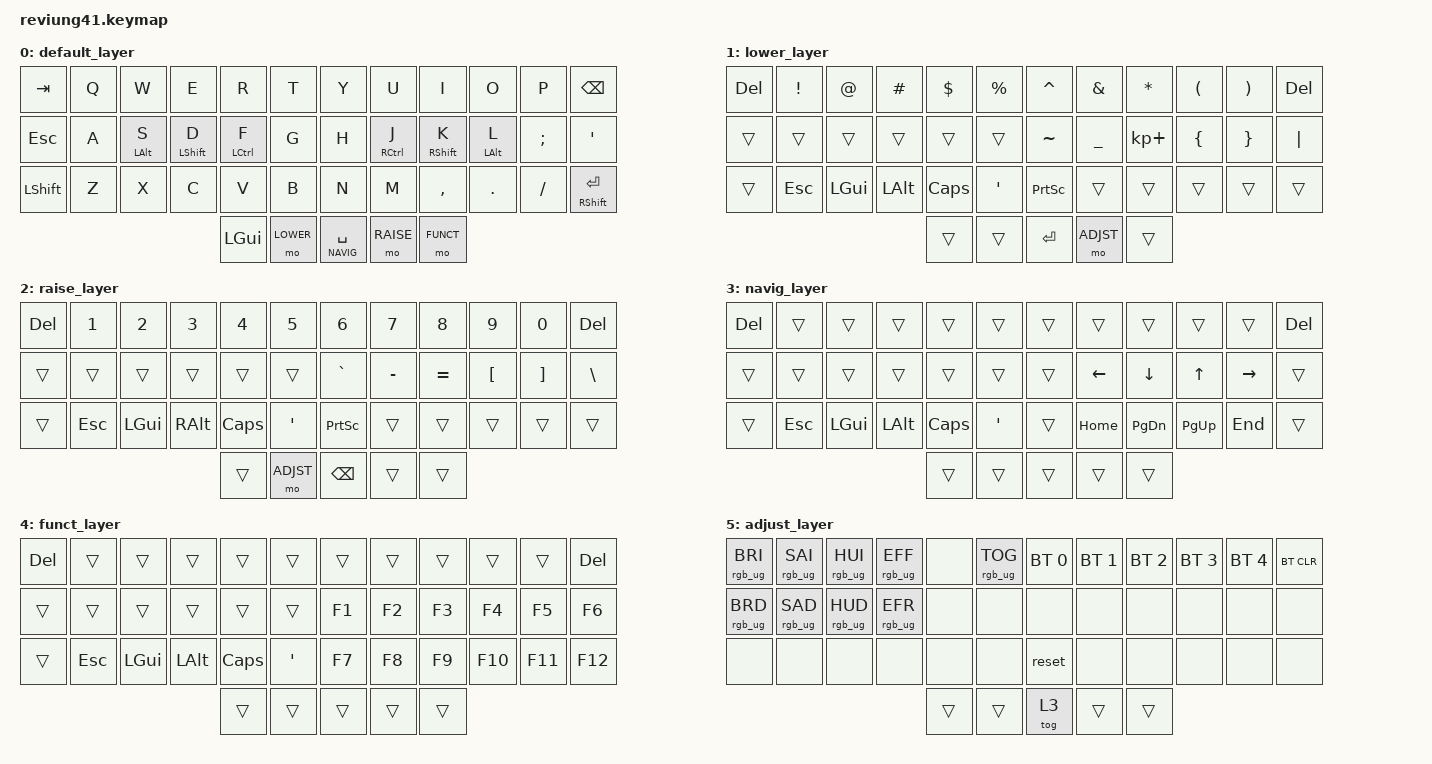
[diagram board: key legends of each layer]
/*
 * Copyright (c) 2020 The ZMK Contributors
 *
 * SPDX-License-Identifier: MIT
 */

#include <behaviors.dtsi>
#include <dt-bindings/zmk/keys.h>
#include <dt-bindings/zmk/bt.h>
#include <dt-bindings/zmk/rgb.h>

#define DEFAULT 0
#define LOWER   1
#define RAISE   2
#define NAVIG   3
#define FUNCT   4
#define ADJST   5

/ {
    behaviors {
        hm: homerow_mods {
            compatible = "zmk,behavior-hold-tap";
            label = "HOMEROW_MODS";
            #binding-cells = <2>;
            tapping-term-ms = <150>;
            quick_tap_ms = <0>;
            flavor = "balanced";
            bindings = <&kp>, <&kp>;
        };
    };

        keymap {
                compatible = "zmk,keymap";

                default_layer {
// -------------------------------------------------------------------------------------
// |  TAB |  Q  |  W   |  E   |  R   |  T  |   |  Y  |  U   |  I   |  O   |  P  |   BKSP    |
// | CTRL |  A  |ALT(S)|SFT(D)|CTL(F)|  G  |   |  H  |CTL(J)|SFT(K)|ALT(L)|  ;  |    '      |
// | SHFT |  Z  |  X   |  C   |  V   |  B  |   |  N  |  M   |  ,   |  .   |  /  | SHFT(RET) |
//                         | FUNC | LWR |  SPACE  | RSE | FUNC |
                        bindings = <
   &kp TAB   &kp Q &kp W      &kp E       &kp R       &kp T         &kp Y &kp U        &kp I       &kp O      &kp P    &kp BSPC
   &kp ESC   &kp A &hm LALT S &hm LSHFT D &hm LCTRL F &kp G         &kp H &hm RCTRL J  &hm RSHFT K &hm LALT L &kp SEMI &kp SQT
   &kp LSHFT &kp Z &kp X      &kp C       &kp V       &kp B         &kp N &kp M        &kp COMMA   &kp DOT    &kp FSLH &mt RSHFT RET
                                      &kp LGUI &mo LOWER &lt NAVIG SPACE &mo RAISE &mo FUNCT
                        >;
                };

                lower_layer {
// ----------------------------------------------------------------------------------
// |    |  !  |  @  |  #  |  $  |  %  |   |  ^  |  &  |  *  |  (  |  )  |    DEL    |
// |    |  _  |  +  |  {  |  }  | "|" |   |  ~  | LFT | DWN |  UP | RGT |     `     |
// |    | ESC | GUI | ALT | CAPS|  "  |   | PRSC| HOME| PGDN| PGUP| END | SHFT(RET) |
//                       |     |     | RET | ADJ |     |
                        bindings = <
   &kp DEL &kp EXCL &kp AT   &kp HASH &kp DLLR &kp PRCNT      &kp CARET &kp AMPS  &kp ASTRK   &kp LPAR  &kp RPAR  &kp DEL
   &trans  &trans   &trans   &trans   &trans   &trans         &kp TILDE &kp UNDER &kp KP_PLUS &kp LBRC  &kp RBRC  &kp PIPE
   &trans  &kp ESC  &kp LGUI &kp LALT &kp CLCK &kp SQT        &kp PSCRN &trans    &trans      &trans    &trans    &trans
                                  &trans      &trans       &kp RET        &mo ADJST       &trans
                        >;
                };

                raise_layer {
// ----------------------------------------------------------------------------------
// |    |  1  |  2  |  3  |  4  |  5  |   |  6  |  7  |  8  |  9  |  0  |    DEL    |
// |    |  -  |  =  |  [  |  ]  |  \  |   |  `  | LFT | DWN |  UP | RGT |     ~     |
// |    | ESC | GUI | ALT | CAPS|  "  |   | PRSC| HOME| PGDN| PGUP| END | SHFT(RET) |
//                       |     | ADJ | BKSP |    |     |
                        bindings = <
   &kp DEL &kp N1   &kp N2    &kp N3   &kp N4    &kp N5        &kp N6    &kp N7    &kp N8    &kp N9    &kp N0    &kp DEL
   &trans  &trans   &trans    &trans   &trans    &trans        &kp GRAVE &kp MINUS &kp EQUAL &kp LBKT  &kp RBKT  &kp BSLH
   &trans  &kp ESC  &kp LGUI  &kp RALT &kp CLCK  &kp SQT       &kp PSCRN &trans    &trans    &trans    &trans    &trans
                                 &trans      &mo ADJST       &kp BSPC        &trans      &trans
                        >;
                };

                navig_layer {
// ----------------------------------------------------------------------------------
// |    |  !  |  @  |  #  |  $  |  %  |   |  ^  |  &  |  *  |  (  |  )  |    DEL    |
// |    |  _  |  +  |  {  |  }  | "|" |   | F1  | F2  | F3  | F4  | F5  | F6  |
// |    | ESC | GUI | ALT | CAPS|  "  |   | F7  | F8  | F9  | F10 | F11 | F12 |
//                       |     |     | RET | ADJ |     |
                        bindings = <
   &kp DEL &trans  &trans   &trans   &trans   &trans      &trans  &trans   &trans    &trans    &trans    &kp DEL
   &trans  &trans  &trans   &trans   &trans   &trans      &trans  &kp LEFT &kp DOWN  &kp UP    &kp RIGHT &trans
   &trans  &kp ESC &kp LGUI &kp LALT &kp CLCK &kp SQT     &trans  &kp HOME &kp PG_DN &kp PG_UP &kp END   &trans
                                  &trans   &trans   &trans   &trans   &trans
                        >;
                };

                funct_layer {
// ----------------------------------------------------------------------------------
// |    |  !  |  @  |  #  |  $  |  %  |   |  ^  |  &  |  *  |  (  |  )  |    DEL    |
// |    |  _  |  +  |  {  |  }  | "|" |   | F1  | F2  | F3  | F4  | F5  | F6  |
// |    | ESC | GUI | ALT | CAPS|  "  |   | F7  | F8  | F9  | F10 | F11 | F12 |
//                       |     |     | RET | ADJ |     |
                        bindings = <
   &kp DEL &trans  &trans   &trans   &trans   &trans      &trans    &trans    &trans    &trans    &trans    &kp DEL
   &trans  &trans  &trans   &trans   &trans   &trans      &kp F1    &kp F2    &kp F3    &kp F4    &kp F5    &kp F6
   &trans  &kp ESC &kp LGUI &kp LALT &kp CLCK &kp SQT     &kp F7    &kp F8    &kp F9    &kp F10   &kp F11   &kp F12
                                  &trans   &trans   &trans   &trans   &trans
                        >;
                };

                adjust_layer {
// -----------------------------------------------------------------------------------------
// | RGB BRI+ | RGB SAT+ | RGB HUE+ | RGB ANI+ |    | RGB TOG |   |  BT1  | BT2 | BT3 | BT4 | BT5 | BT CLR |
// | RGB BRI- | RGB SAT- | RGB HUE- | RGB ANI+ |    |         |   |       |     |     |     |     |        |
// |          |          |          |          |    |         |   | RESET |     |     |     |     |        |
//                                              |     |     |     |     |     |
                        bindings = <
   &rgb_ug RGB_BRI &rgb_ug RGB_SAI &rgb_ug RGB_HUI &rgb_ug RGB_EFF &none &rgb_ug RGB_TOG    &bt BT_SEL 0 &bt BT_SEL 1 &bt BT_SEL 2 &bt BT_SEL 3 &bt BT_SEL 4 &bt BT_CLR
   &rgb_ug RGB_BRD &rgb_ug RGB_SAD &rgb_ug RGB_HUD &rgb_ug RGB_EFR &none &none              &none        &none        &none        &none        &none        &none
   &none           &none           &none           &none           &none &none              &reset       &none        &none        &none        &none        &none
                                                             &trans      &trans       &tog 3        &trans      &trans
                        >;
                };
        };
};
